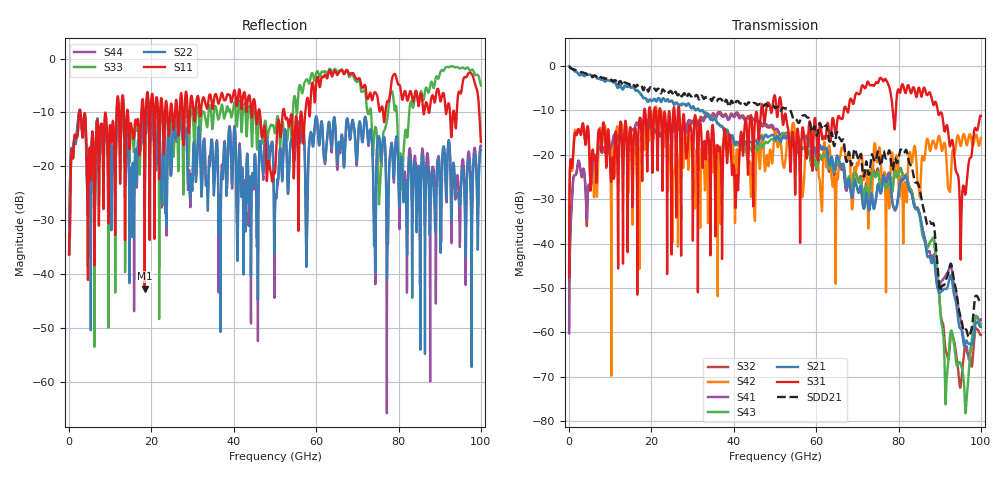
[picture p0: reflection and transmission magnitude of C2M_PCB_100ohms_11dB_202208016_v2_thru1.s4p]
! Info: Touchstone file created by Circ.  Input file=Intel_C2M_200G_2p0in_202208016_staggered.circ
# Hz S RI R 50
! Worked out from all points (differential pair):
!   10000 points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, 10 MHz to 100 GHz, reference 50 ohm
!   strongest paths, dB at 10 MHz, 25.01 GHz, 50.01 GHz, 75.01 GHz, 100 GHz:
!     S31: -47.5, -19.6, -6.9, -3.9, -11.3
!     S21: -0.1, -7.9, -16.5, -26.7, -58.7
!     S43: -0.1, -7.9, -17.0, -23.7, -58.0
!     S41: -60.1, -14.9, -14.4, -26.7, -57.1
!     S42: -47.5, -24.1, -14.5, -20.7, -16.3
!     S32: -60.1, -14.9, -14.7, -23.1, -60.5
!   taken as a pair (ports 1,3 in; 2,4 out), SDD21 dB: -0.1, -6.0, -9.6, -19.3, -53.0
!   lowest |S11| = -42.7 dB at 18.37 GHz (marker M1), VSWR 1.01, Z = 49.9 - j0.719 ohm
!   |S11| at or under -10 dB: 2.759 GHz to 11.53 GHz (8.774 GHz wide, 123 % of centre); 46.34 GHz to 51.89 GHz (5.551 GHz wide, 11.3 % of centre); 52.33 GHz to 56.25 GHz (3.916 GHz wide, 7.21 % of centre)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
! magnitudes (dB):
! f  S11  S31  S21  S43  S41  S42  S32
! 10 MHz  -36.4  -47.5  -0.1  -0.1  -60.1  -47.5  -60.1
! 2.1 GHz  -14.1  -14.5  -1.7  -1.7  -22.0  -15.0  -22.0
! 18.37 GHz  -42.7  -9.7  -7.2  -7.3  -12.0  -17.4  -12.0
! 80.59 GHz  -6.3  -5.3  -25.5  -23.4  -25.8  -25.2  -23.1
! 91.6 GHz  -10.2  -13.5  -50.3  -72.2  -46.9  -20.5  -64.4
! 95.23 GHz  -6.2  -35.3  -59.3  -67.5  -57.8  -17.8  -70.9
! 100 GHz  -15.5  -11.3  -58.7  -58.0  -57.1  -16.3  -60.5
